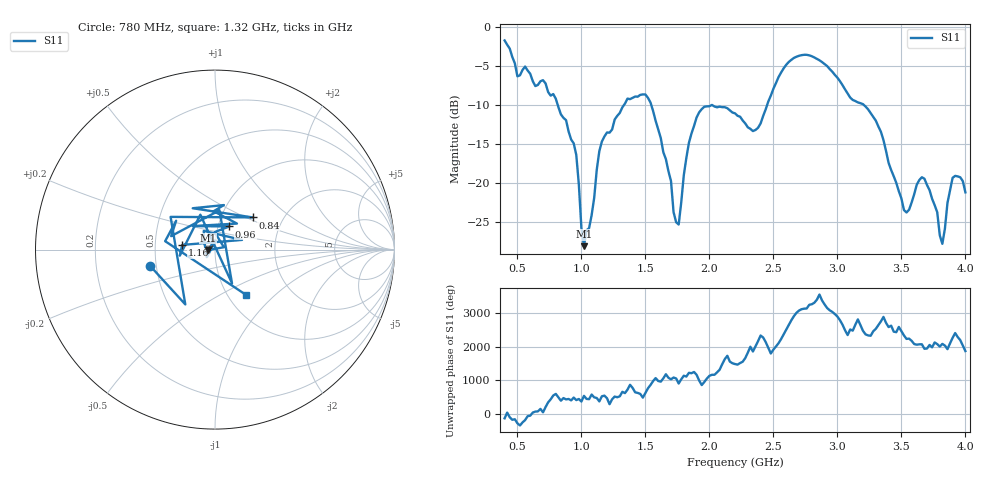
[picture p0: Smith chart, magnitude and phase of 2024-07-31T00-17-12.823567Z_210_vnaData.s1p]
!Created with skrf (http://scikit-rf.org).
# Hz S RI R 50.0
!freq ReS11 ImS11
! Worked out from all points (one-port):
!   181 points, 400 MHz to 4 GHz, reference 50 ohm
!   lowest |S11| = -28.1 dB at 1.02 GHz (marker M1), VSWR 1.08, Z = 46.2 - j0.237 ohm
!   |S11| at or under -10 dB: 815.3 MHz to 1.332 GHz (516.8 MHz wide, 48.1 % of centre); 1.546 GHz to 2.017 GHz (471.3 MHz wide, 26.5 % of centre); 3.208 GHz to end of sweep (the widest 3 of 4)
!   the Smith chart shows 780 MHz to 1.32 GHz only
!   S11 on the Smith chart (normalised r, x): 780 MHz: 0.46, -0.10; 840 MHz: 1.40, +0.55; 960 MHz: 1.13, +0.30; 1.16 GHz: 0.69, +0.04; 1.32 GHz: 1.21, -0.68
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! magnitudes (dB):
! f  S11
! 400 MHz  -1.7
! 500 MHz  -6.3
! 560 MHz  -5.0
! 780 MHz  -8.6
! 840 MHz  -11.2
! 860 MHz  -11.6
! 960 MHz  -16.4
! 1.02 GHz  -28.1
! 1.08 GHz  -24.1
! 1.16 GHz  -14.7
! 1.3 GHz  -11.0
! 1.32 GHz  -10.3
! 1.54 GHz  -9.7
! 1.76 GHz  -25.4
! 1.84 GHz  -14.9
! 1.92 GHz  -10.9
! 2.2 GHz  -11.1
! 2.38 GHz  -12.9
! 2.66 GHz  -3.9
! 2.88 GHz  -4.5
! 3.1 GHz  -9.0
! 3.3 GHz  -12.0
! 3.52 GHz  -23.5
! 3.56 GHz  -23.5
! 3.68 GHz  -19.5
! 3.82 GHz  -27.8
! 3.9 GHz  -19.4
! 4 GHz  -21.2
